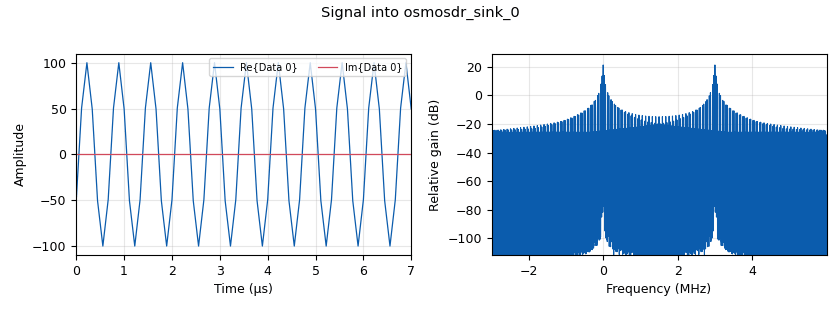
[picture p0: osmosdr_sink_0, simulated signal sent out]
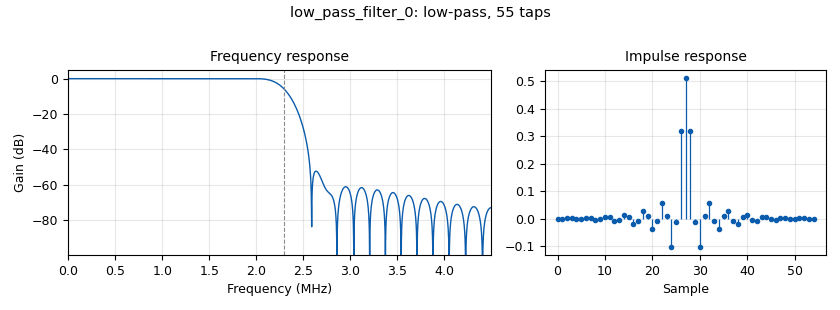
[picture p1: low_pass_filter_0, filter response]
<?xml version='1.0' encoding='utf-8'?>
<?grc format='1' created='3.7.11'?>
<flow_graph>
<block>
<key>options</key>
<param><key>id</key><value>OOK_hackrf</value></param>
<param><key>generate_options</key><value>qt_gui</value></param>
</block>
<block>
<key>variable</key>
<param><key>id</key><value>GLFSR_degree</value></param>
<param><key>value</key><value>2</value></param>
</block>
<block>
<key>variable</key>
<param><key>id</key><value>SPS</value></param>
<param><key>value</key><value>100</value></param>
</block>
<block>
<key>variable</key>
<param><key>id</key><value>carrier_freq</value></param>
<param><key>value</key><value>1.5e6</value></param>
</block>
<block>
<key>variable_qtgui_range</key>
<param><key>id</key><value>delay</value></param>
<param><key>value</key><value>0</value></param>
<param><key>orient</key><value>Qt.Horizontal</value></param>
<param><key>start</key><value>0</value></param>
<param><key>step</key><value>1</value></param>
<param><key>stop</key><value>100</value></param>
<param><key>rangeType</key><value>int</value></param>
</block>
<block>
<key>variable_qtgui_range</key>
<param><key>id</key><value>noise_amp</value></param>
<param><key>value</key><value>0</value></param>
<param><key>orient</key><value>Qt.Horizontal</value></param>
<param><key>start</key><value>0</value></param>
<param><key>step</key><value>0.02</value></param>
<param><key>stop</key><value>1</value></param>
</block>
<block>
<key>variable</key>
<param><key>id</key><value>samp_rate</value></param>
<param><key>value</key><value>9e6</value></param>
</block>
<block>
<key>variable</key>
<param><key>id</key><value>transition_freq</value></param>
<param><key>value</key><value>100e3</value></param>
</block>
<block>
<key>analog_const_source_x</key>
<param><key>id</key><value>analog_const_source_x_0</value></param>
<param><key>const</key><value>0</value></param>
<param><key>type</key><value>float</value></param>
</block>
<block>
<key>analog_sig_source_x</key>
<param><key>id</key><value>analog_sig_source_x_0</value></param>
<param><key>amp</key><value>1</value></param>
<param><key>freq</key><value>carrier_freq</value></param>
<param><key>offset</key><value>0</value></param>
<param><key>type</key><value>float</value></param>
<param><key>samp_rate</key><value>samp_rate</value></param>
<param><key>waveform</key><value>analog.GR_COS_WAVE</value></param>
</block>
<block>
<key>blocks_char_to_float</key>
<param><key>id</key><value>blocks_char_to_float_0</value></param>
<param><key>scale</key><value>1</value></param>
</block>
<block>
<key>blocks_complex_to_mag_squared</key>
<param><key>id</key><value>blocks_complex_to_mag_squared_0</value></param>
</block>
<block>
<key>blocks_float_to_complex</key>
<param><key>id</key><value>blocks_float_to_complex_0</value></param>
</block>
<block>
<key>blocks_keep_one_in_n</key>
<param><key>id</key><value>blocks_keep_one_in_n_0</value></param>
<param><key>n</key><value>SPS</value></param>
<param><key>type</key><value>float</value></param>
</block>
<block>
<key>blocks_moving_average_xx</key>
<param><key>id</key><value>blocks_moving_average_xx_0</value></param>
<param><key>length</key><value>SPS</value></param>
<param><key>max_iter</key><value>4000</value></param>
<param><key>scale</key><value>1.0/SPS</value></param>
<param><key>type</key><value>float</value></param>
</block>
<block>
<key>blocks_multiply_const_vxx</key>
<param><key>id</key><value>blocks_multiply_const_vxx_0</value></param>
<param><key>const</key><value>100</value></param>
<param><key>type</key><value>complex</value></param>
</block>
<block>
<key>blocks_multiply_const_vxx</key>
<param><key>id</key><value>blocks_multiply_const_vxx_1</value></param>
<param><key>const</key><value>100</value></param>
<param><key>type</key><value>complex</value></param>
</block>
<block>
<key>blocks_multiply_xx</key>
<param><key>id</key><value>blocks_multiply_xx_0</value></param>
<param><key>type</key><value>float</value></param>
</block>
<block>
<key>blocks_null_sink</key>
<param><key>id</key><value>blocks_null_sink_0</value></param>
<param><key>bus_conns</key><value>[[0,],]</value></param>
<param><key>type</key><value>complex</value></param>
</block>
<block>
<key>blocks_repeat</key>
<param><key>id</key><value>blocks_repeat_0</value></param>
<param><key>interp</key><value>SPS</value></param>
<param><key>type</key><value>float</value></param>
</block>
<block>
<key>blocks_threshold_ff</key>
<param><key>id</key><value>blocks_threshold_ff_0</value></param>
<param><key>high</key><value>0.5*100</value></param>
<param><key>init</key><value>1</value></param>
<param><key>low</key><value>0.5*100/2</value></param>
</block>
<block>
<key>blocks_throttle</key>
<param><key>id</key><value>blocks_throttle_0</value></param>
<param><key>_enabled</key><value>2</value></param>
<param><key>samples_per_second</key><value>samp_rate</value></param>
<param><key>type</key><value>byte</value></param>
</block>
<block>
<key>channels_channel_model</key>
<param><key>id</key><value>channels_channel_model_0</value></param>
<param><key>_enabled</key><value>0</value></param>
<param><key>epsilon</key><value>1.0</value></param>
<param><key>freq_offset</key><value>0.0</value></param>
<param><key>noise_voltage</key><value>noise_amp</value></param>
<param><key>seed</key><value>0</value></param>
<param><key>taps</key><value>1.0 + 1.0j</value></param>
</block>
<block>
<key>digital_glfsr_source_x</key>
<param><key>id</key><value>digital_glfsr_source_x_0</value></param>
<param><key>degree</key><value>GLFSR_degree</value></param>
<param><key>mask</key><value>0</value></param>
<param><key>repeat</key><value>True</value></param>
<param><key>seed</key><value>1</value></param>
<param><key>type</key><value>byte</value></param>
</block>
<block>
<key>low_pass_filter</key>
<param><key>id</key><value>low_pass_filter_0</value></param>
<param><key>cutoff_freq</key><value>2.3e6</value></param>
<param><key>decim</key><value>1</value></param>
<param><key>type</key><value>fir_filter_ccf</value></param>
<param><key>gain</key><value>1</value></param>
<param><key>samp_rate</key><value>samp_rate</value></param>
<param><key>width</key><value>0.4e6</value></param>
<param><key>win</key><value>firdes.WIN_HAMMING</value></param>
</block>
<block>
<key>osmosdr_sink</key>
<param><key>id</key><value>osmosdr_sink_0</value></param>
<param><key>bb_gain0</key><value>16</value></param>
<param><key>freq0</key><value>carrier_freq</value></param>
<param><key>if_gain0</key><value>16</value></param>
<param><key>gain0</key><value>1</value></param>
<param><key>args</key><value>hackrf=232a2c5f</value></param>
<param><key>type</key><value>fc32</value></param>
<param><key>sample_rate</key><value>samp_rate</value></param>
<param><key>sync</key><value></value></param>
</block>
<block>
<key>osmosdr_source</key>
<param><key>id</key><value>osmosdr_source_0</value></param>
<param><key>bb_gain0</key><value>16</value></param>
<param><key>freq0</key><value>carrier_freq+1.5e6</value></param>
<param><key>gain_mode0</key><value>False</value></param>
<param><key>if_gain0</key><value>16</value></param>
<param><key>gain0</key><value>1</value></param>
<param><key>args</key><value>hackrf=2226255f</value></param>
<param><key>type</key><value>fc32</value></param>
<param><key>sample_rate</key><value>samp_rate</value></param>
<param><key>sync</key><value></value></param>
</block>
<block>
<key>qtgui_freq_sink_x</key>
<param><key>id</key><value>qtgui_freq_sink_x_0</value></param>
<param><key>bw</key><value>samp_rate</value></param>
<param><key>fc</key><value>0</value></param>
<param><key>fftsize</key><value>1024</value></param>
<param><key>name</key><value>"RX"</value></param>
<param><key>showports</key><value>True</value></param>
<param><key>type</key><value>complex</value></param>
<param><key>wintype</key><value>firdes.WIN_BLACKMAN_hARRIS</value></param>
</block>
<block>
<key>qtgui_freq_sink_x</key>
<param><key>id</key><value>qtgui_freq_sink_x_1</value></param>
<param><key>bw</key><value>samp_rate</value></param>
<param><key>fc</key><value>0</value></param>
<param><key>fftsize</key><value>1024</value></param>
<param><key>name</key><value>"RX_LPF"</value></param>
<param><key>showports</key><value>True</value></param>
<param><key>type</key><value>complex</value></param>
<param><key>wintype</key><value>firdes.WIN_BLACKMAN_hARRIS</value></param>
</block>
<block>
<key>qtgui_time_sink_x</key>
<param><key>id</key><value>qtgui_time_sink_x_0</value></param>
<param><key>color1</key><value>"blue"</value></param>
<param><key>label1</key><value></value></param>
<param><key>color2</key><value>"red"</value></param>
<param><key>label2</key><value></value></param>
<param><key>name</key><value>"RX"</value></param>
<param><key>size</key><value>1024</value></param>
<param><key>srate</key><value>samp_rate</value></param>
<param><key>type</key><value>complex</value></param>
</block>
<block>
<key>qtgui_time_sink_x</key>
<param><key>id</key><value>qtgui_time_sink_x_1</value></param>
<param><key>color1</key><value>"blue"</value></param>
<param><key>label1</key><value></value></param>
<param><key>color2</key><value>"red"</value></param>
<param><key>label2</key><value></value></param>
<param><key>name</key><value>"RX_LPF"</value></param>
<param><key>size</key><value>1024</value></param>
<param><key>srate</key><value>samp_rate</value></param>
<param><key>type</key><value>complex</value></param>
</block>
<block>
<key>qtgui_time_sink_x</key>
<param><key>id</key><value>qtgui_time_sink_x_2</value></param>
<param><key>color1</key><value>"blue"</value></param>
<param><key>label1</key><value>TX</value></param>
<param><key>color2</key><value>"black"</value></param>
<param><key>label2</key><value>RX1</value></param>
<param><key>name</key><value>"RX_MAG"</value></param>
<param><key>nconnections</key><value>2</value></param>
<param><key>size</key><value>1024</value></param>
<param><key>srate</key><value>samp_rate</value></param>
<param><key>type</key><value>float</value></param>
</block>
<block>
<key>virtual_sink</key>
<param><key>id</key><value>virtual_sink_0</value></param>
<param><key>_enabled</key><value>0</value></param>
<param><key>stream_id</key><value>0</value></param>
</block>
<block>
<key>virtual_source</key>
<param><key>id</key><value>virtual_source_0</value></param>
<param><key>_enabled</key><value>0</value></param>
<param><key>stream_id</key><value>0</value></param>
</block>
<connection><source_block_id>analog_const_source_x_0</source_block_id><sink_block_id>blocks_float_to_complex_0</sink_block_id><source_key>0</source_key><sink_key>1</sink_key></connection>
<connection><source_block_id>analog_sig_source_x_0</source_block_id><sink_block_id>blocks_multiply_xx_0</sink_block_id><source_key>0</source_key><sink_key>1</sink_key></connection>
<connection><source_block_id>blocks_char_to_float_0</source_block_id><sink_block_id>blocks_repeat_0</sink_block_id><source_key>0</source_key><sink_key>0</sink_key></connection>
<connection><source_block_id>blocks_char_to_float_0</source_block_id><sink_block_id>qtgui_time_sink_x_2</sink_block_id><source_key>0</source_key><sink_key>0</sink_key></connection>
<connection><source_block_id>blocks_complex_to_mag_squared_0</source_block_id><sink_block_id>blocks_moving_average_xx_0</sink_block_id><source_key>0</source_key><sink_key>0</sink_key></connection>
<connection><source_block_id>blocks_float_to_complex_0</source_block_id><sink_block_id>blocks_multiply_const_vxx_1</sink_block_id><source_key>0</source_key><sink_key>0</sink_key></connection>
<connection><source_block_id>blocks_float_to_complex_0</source_block_id><sink_block_id>blocks_null_sink_0</sink_block_id><source_key>0</source_key><sink_key>0</sink_key></connection>
<connection><source_block_id>blocks_float_to_complex_0</source_block_id><sink_block_id>channels_channel_model_0</sink_block_id><source_key>0</source_key><sink_key>0</sink_key></connection>
<connection><source_block_id>blocks_keep_one_in_n_0</source_block_id><sink_block_id>qtgui_time_sink_x_2</sink_block_id><source_key>0</source_key><sink_key>1</sink_key></connection>
<connection><source_block_id>blocks_moving_average_xx_0</source_block_id><sink_block_id>blocks_threshold_ff_0</sink_block_id><source_key>0</source_key><sink_key>0</sink_key></connection>
<connection><source_block_id>blocks_multiply_const_vxx_0</source_block_id><sink_block_id>blocks_complex_to_mag_squared_0</sink_block_id><source_key>0</source_key><sink_key>0</sink_key></connection>
<connection><source_block_id>blocks_multiply_const_vxx_1</source_block_id><sink_block_id>osmosdr_sink_0</sink_block_id><source_key>0</source_key><sink_key>0</sink_key></connection>
<connection><source_block_id>blocks_multiply_xx_0</source_block_id><sink_block_id>blocks_float_to_complex_0</sink_block_id><source_key>0</source_key><sink_key>0</sink_key></connection>
<connection><source_block_id>blocks_repeat_0</source_block_id><sink_block_id>blocks_multiply_xx_0</sink_block_id><source_key>0</source_key><sink_key>0</sink_key></connection>
<connection><source_block_id>blocks_threshold_ff_0</source_block_id><sink_block_id>blocks_keep_one_in_n_0</sink_block_id><source_key>0</source_key><sink_key>0</sink_key></connection>
<connection><source_block_id>blocks_throttle_0</source_block_id><sink_block_id>blocks_char_to_float_0</sink_block_id><source_key>0</source_key><sink_key>0</sink_key></connection>
<connection><source_block_id>channels_channel_model_0</source_block_id><sink_block_id>virtual_sink_0</sink_block_id><source_key>0</source_key><sink_key>0</sink_key></connection>
<connection><source_block_id>digital_glfsr_source_x_0</source_block_id><sink_block_id>blocks_throttle_0</sink_block_id><source_key>0</source_key><sink_key>0</sink_key></connection>
<connection><source_block_id>low_pass_filter_0</source_block_id><sink_block_id>blocks_multiply_const_vxx_0</sink_block_id><source_key>0</source_key><sink_key>0</sink_key></connection>
<connection><source_block_id>low_pass_filter_0</source_block_id><sink_block_id>qtgui_freq_sink_x_1</sink_block_id><source_key>0</source_key><sink_key>0</sink_key></connection>
<connection><source_block_id>low_pass_filter_0</source_block_id><sink_block_id>qtgui_time_sink_x_1</sink_block_id><source_key>0</source_key><sink_key>0</sink_key></connection>
<connection><source_block_id>osmosdr_source_0</source_block_id><sink_block_id>low_pass_filter_0</sink_block_id><source_key>0</source_key><sink_key>0</sink_key></connection>
<connection><source_block_id>osmosdr_source_0</source_block_id><sink_block_id>qtgui_freq_sink_x_0</sink_block_id><source_key>0</source_key><sink_key>0</sink_key></connection>
<connection><source_block_id>osmosdr_source_0</source_block_id><sink_block_id>qtgui_time_sink_x_0</sink_block_id><source_key>0</source_key><sink_key>0</sink_key></connection>
<connection><source_block_id>virtual_source_0</source_block_id><sink_block_id>low_pass_filter_0</sink_block_id><source_key>0</source_key><sink_key>0</sink_key></connection>
</flow_graph>
